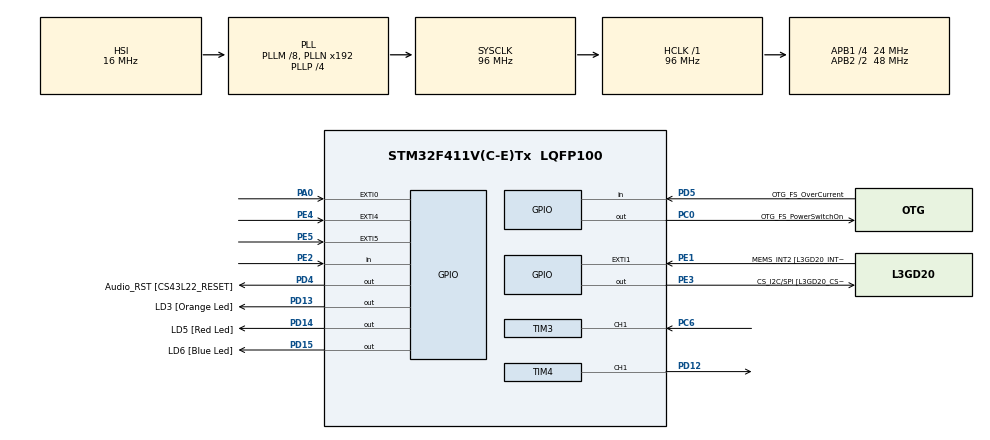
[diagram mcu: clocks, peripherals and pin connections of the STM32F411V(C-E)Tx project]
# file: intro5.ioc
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Mcu.Family=STM32F4
Mcu.Name=STM32F411V(C-E)Tx
Mcu.Package=LQFP100
NVIC.EXTI0_IRQn=true\:0\:0\:false\:false\:true\:true\:true\:true
NVIC.PriorityGroup=NVIC_PRIORITYGROUP_0
NVIC.TIM3_IRQn=true\:0\:0\:false\:false\:true\:true\:true\:true
PA0-WKUP.GPIO_ModeDefaultEXTI=GPIO_MODE_IT_RISING
PA0-WKUP.Signal=GPXTI0
PA10.GPIO_Label=OTG_FS_ID
PA10.Signal=USB_OTG_FS_ID
PA11.GPIO_Label=OTG_FS_DM
PA11.Signal=USB_OTG_FS_DM
PA12.GPIO_Label=OTG_FS_DP
PA12.Signal=USB_OTG_FS_DP
PA13.GPIO_Label=SWDIO
PA13.Signal=SYS_JTMS-SWDIO
PA14.GPIO_Label=SWCLK
PA14.Signal=SYS_JTCK-SWCLK
PA4.GPIO_Label=I2S3_WS [CS43L22_LRCK]
PA4.GPIO_Mode=GPIO_MODE_AF_PP
PA4.GPIO_PuPd=GPIO_NOPULL
PA4.GPIO_Speed=GPIO_SPEED_FREQ_LOW
PA4.Signal=I2S3_WS
PA5.GPIO_Label=SPI1_SCK [L3GD20_SC/SPC]
PA5.Signal=SPI1_SCK
PA6.GPIO_Label=SPI1_MISO [L3GD20_AS0/SDO]
PA6.Signal=SPI1_MISO
PA7.GPIO_Label=SPI1_MOSI [L3GD20_SDA/SDI/SDO]
PA7.Signal=SPI1_MOSI
PA9.GPIO_Label=VBUS_FS
PA9.Signal=USB_OTG_FS_VBUS
PB10.GPIO_Label=CLK_IN [MP45DT02_CLK]
PB10.Signal=I2S2_CK
PB12.Signal=I2S2_WS
PB3.GPIO_Label=SWO
PB3.Signal=SYS_JTDO-SWO
PB6.GPIO_Label=Audio_SCL [CS43L22_SCL]
PB6.GPIO_Mode=GPIO_MODE_AF_OD
PB6.GPIO_PuPd=GPIO_NOPULL
PB6.GPIO_Speed=GPIO_SPEED_FREQ_LOW
PB6.Signal=I2C1_SCL
PB9.GPIO_Label=Audio_SDA [CS43L22_SDA]
PB9.GPIO_Mode=GPIO_MODE_AF_OD
PB9.GPIO_PuPd=GPIO_NOPULL
PB9.GPIO_Speed=GPIO_SPEED_FREQ_LOW
PB9.Signal=I2C1_SDA
PC0.GPIO_Label=OTG_FS_PowerSwitchOn
PC0.PinState=GPIO_PIN_SET
PC0.Signal=GPIO_Output
PC10.GPIO_Label=I2S3_SCK [CS43L22_SCLK]
PC10.GPIO_Mode=GPIO_MODE_AF_PP
PC10.GPIO_PuPd=GPIO_NOPULL
PC10.GPIO_Speed=GPIO_SPEED_FREQ_LOW
PC10.Signal=I2S3_CK
PC12.GPIO_Label=I2S3_SD [CS43L22_SDIN]
PC12.GPIO_Mode=GPIO_MODE_AF_PP
PC12.GPIO_PuPd=GPIO_NOPULL
PC12.GPIO_Speed=GPIO_SPEED_FREQ_LOW
PC12.Signal=I2S3_SD
PC14-OSC32_IN.GPIO_Label=PC14-OSC32_IN
PC14-OSC32_IN.Signal=RCC_OSC32_IN
PC15-OSC32_OUT.GPIO_Label=PC15-OSC32_OUT
PC15-OSC32_OUT.Signal=RCC_OSC32_OUT
PC3.GPIO_Label=PDM_OUT [MP45DT02_DOUT]
PC3.Signal=I2S2_SD
PC6.Signal=S_TIM3_CH1
PC7.GPIO_Label=I2S3_MCK [CS43L22_MCLK]
PC7.GPIO_Mode=GPIO_MODE_AF_PP
PC7.GPIO_PuPd=GPIO_NOPULL
PC7.GPIO_Speed=GPIO_SPEED_FREQ_LOW
PC7.Signal=I2S3_MCK
PD12.Signal=S_TIM4_CH1
PD13.GPIO_Label=LD3 [Orange Led]
PD13.GPIO_PuPd=GPIO_NOPULL
PD13.GPIO_Speed=GPIO_SPEED_FREQ_LOW
PD13.Signal=GPIO_Output
PD14.GPIO_Label=LD5 [Red Led]
PD14.GPIO_PuPd=GPIO_NOPULL
PD14.GPIO_Speed=GPIO_SPEED_FREQ_LOW
PD14.Signal=GPIO_Output
PD15.GPIO_Label=LD6 [Blue Led]
PD15.GPIO_PuPd=GPIO_NOPULL
PD15.GPIO_Speed=GPIO_SPEED_FREQ_LOW
PD15.Signal=GPIO_Output
PD4.GPIO_Label=Audio_RST [CS43L22_RESET]
PD4.Signal=GPIO_Output
PD5.GPIO_Label=OTG_FS_OverCurrent
PD5.Signal=GPIO_Input
PE1.GPIO_Label=MEMS_INT2 [L3GD20_INT2]
PE1.GPIO_ModeDefaultEXTI=GPIO_MODE_EVT_RISING
PE1.Signal=GPXTI1
PE2.Signal=GPIO_Input
PE3.GPIO_Label=CS_I2C/SPI [L3GD20_CS_I2C/SPI]
PE3.Signal=GPIO_Output
PE4.GPIO_ModeDefaultEXTI=GPIO_MODE_EVT_RISING
PE4.Signal=GPXTI4
PE5.GPIO_ModeDefaultEXTI=GPIO_MODE_EVT_RISING
PE5.Signal=GPXTI5
PH0\ -\ OSC_IN.GPIO_Label=PH0-OSC_IN
PH0\ -\ OSC_IN.Signal=RCC_OSC_IN
PH1\ -\ OSC_OUT.GPIO_Label=PH1-OSC_OUT
PH1\ -\ OSC_OUT.Signal=RCC_OSC_OUT
ProjectManager.HeapSize=0x200
ProjectManager.StackSize=0x400
ProjectManager.TargetToolchain=STM32CubeIDE
RCC.48MHZClocksFreq_Value=48000000
RCC.AHBFreq_Value=96000000
RCC.APB1CLKDivider=RCC_HCLK_DIV4
RCC.APB1Freq_Value=24000000
RCC.APB1TimFreq_Value=48000000
RCC.APB2CLKDivider=RCC_HCLK_DIV2
RCC.APB2Freq_Value=48000000
RCC.APB2TimFreq_Value=96000000
RCC.CortexFreq_Value=96000000
RCC.HCLKFreq_Value=96000000
RCC.HSE_VALUE=8000000
RCC.HSI_VALUE=16000000
RCC.LSE_VALUE=32768
RCC.PLLI2SM=5
RCC.PLLI2SN=200
RCC.PLLM=8
RCC.PLLP=RCC_PLLP_DIV4
RCC.PLLQ=8
RCC.SYSCLKFreq_VALUE=96000000
RCC.SYSCLKSource=RCC_SYSCLKSOURCE_PLLCLK
RCC.VCOOutputFreq_Value=384000000
SH.S_TIM3_CH1.0=TIM3_CH1,Input_Capture1_from_TI1
SH.S_TIM4_CH1.0=TIM4_CH1,PWM Generation1 CH1
TIM3.Channel-Input_Capture1_from_TI1=TIM_CHANNEL_1
TIM3.Period=5000
TIM3.Prescaler=48000-1
TIM4.Channel-PWM\ Generation1\ CH1=TIM_CHANNEL_1
TIM4.Period=1000
TIM4.Prescaler=48000-1
TIM4.Pulse-PWM\ Generation1\ CH1=500
VP_TIM3_VS_ClockSourceINT.Mode=Internal
VP_TIM4_VS_ClockSourceINT.Mode=Internal
board=STM32F411E-DISCO

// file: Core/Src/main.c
/* USER CODE BEGIN Header */
/**
  ******************************************************************************
  * @file           : main.c
  * @brief          : Main program body
  ******************************************************************************
  * @attention
  *
  * Copyright (c) 2024 STMicroelectronics.
  * All rights reserved.
  *
  * This software is licensed under terms that can be found in the LICENSE file
  * in the root directory of this software component.
  * If no LICENSE file comes with this software, it is provided AS-IS.
  *
  ******************************************************************************
  */
/* USER CODE END Header */
#include "main.h"

TIM_HandleTypeDef htim3;
TIM_HandleTypeDef htim4;

void SystemClock_Config(void);
static void MX_GPIO_Init(void);
static void MX_TIM4_Init(void);
static void MX_TIM3_Init(void);

int main(void)
{

  /* USER CODE BEGIN 1 */
	initialise_monitor_handles();
  /* USER CODE END 1 */

  /* MCU Configuration--------------------------------------------------------*/

  /* Reset of all peripherals, Initializes the Flash interface and the Systick. */
  HAL_Init();

  /* Configure the system clock */
  SystemClock_Config();

  /* Initialize all configured peripherals */
  MX_GPIO_Init();
  MX_TIM4_Init();
  MX_TIM3_Init();
  /* USER CODE BEGIN 2 */

  HAL_TIM_Base_Start_IT(&htim3);
  HAL_TIM_PWM_Start(&htim4, TIM_CHANNEL_1); //zielona dioda

  int wartosc = 1;
HAL_SuspendTick();
printf("Gasmy swiatlo\n");

//HAL_PWR_EnterSLEEPMode(0, PWR_SLEEPENTRY_WFI); //T = 1s, delay po 5 sekundach
HAL_PWR_EnterSTOPMode(0, PWR_STOPENTRY_WFI); //T = wiecej! niz 1s , podczas klikania tylko s? nie wychodzi ze stopa?
//T sie wydluzyl bo ppl stop, HSI RC + HSE stop. ponowne wznowienie ustawia domyslne settings zegarow, nie takie
//jak my ustalilismy. od nowa musimy inicjalizowac nasze zegarki
//rozwazanie:
//SystemClock_Config();

HAL_ResumeTick();

printf("zapalamy switlo.%d\n", wartosc);

__BKPT();

  /* USER CODE END 2 */

  /* Infinite loop */
  /* USER CODE BEGIN WHILE */
printf("wchodzimy w delay\n");
  while (1)
  {
	  HAL_Delay(5000);
	  HAL_GPIO_TogglePin(LD3_GPIO_Port, LD3_Pin);
    /* USER CODE END WHILE */

  }
}

void SystemClock_Config(void)
{
  RCC_OscInitTypeDef RCC_OscInitStruct = {0};
  RCC_ClkInitTypeDef RCC_ClkInitStruct = {0};

  /** Configure the main internal regulator output voltage
  */
  __HAL_RCC_PWR_CLK_ENABLE();
  __HAL_PWR_VOLTAGESCALING_CONFIG(PWR_REGULATOR_VOLTAGE_SCALE1);

  /** Initializes the RCC Oscillators according to the specified parameters
  * in the RCC_OscInitTypeDef structure.
  */
  RCC_OscInitStruct.OscillatorType = RCC_OSCILLATORTYPE_HSI;
  RCC_OscInitStruct.HSIState = RCC_HSI_ON;
  RCC_OscInitStruct.HSICalibrationValue = RCC_HSICALIBRATION_DEFAULT;
  RCC_OscInitStruct.PLL.PLLState = RCC_PLL_ON;
  RCC_OscInitStruct.PLL.PLLSource = RCC_PLLSOURCE_HSI;
  RCC_OscInitStruct.PLL.PLLM = 8;
  RCC_OscInitStruct.PLL.PLLN = 192;
  RCC_OscInitStruct.PLL.PLLP = RCC_PLLP_DIV4;
  RCC_OscInitStruct.PLL.PLLQ = 8;
  if (HAL_RCC_OscConfig(&RCC_OscInitStruct) != HAL_OK)
  {
    Error_Handler();
  }

  /** Initializes the CPU, AHB and APB buses clocks
  */
  RCC_ClkInitStruct.ClockType = RCC_CLOCKTYPE_HCLK|RCC_CLOCKTYPE_SYSCLK
                              |RCC_CLOCKTYPE_PCLK1|RCC_CLOCKTYPE_PCLK2;
  RCC_ClkInitStruct.SYSCLKSource = RCC_SYSCLKSOURCE_PLLCLK;
  RCC_ClkInitStruct.AHBCLKDivider = RCC_SYSCLK_DIV1;
  RCC_ClkInitStruct.APB1CLKDivider = RCC_HCLK_DIV4;
  RCC_ClkInitStruct.APB2CLKDivider = RCC_HCLK_DIV2;

  if (HAL_RCC_ClockConfig(&RCC_ClkInitStruct, FLASH_LATENCY_3) != HAL_OK)
  {
    Error_Handler();
  }
}

static void MX_TIM3_Init(void)
{

  TIM_ClockConfigTypeDef sClockSourceConfig = {0};
  TIM_MasterConfigTypeDef sMasterConfig = {0};
  TIM_IC_InitTypeDef sConfigIC = {0};

  htim3.Instance = TIM3;
  htim3.Init.Prescaler = 48000-1;
  htim3.Init.CounterMode = TIM_COUNTERMODE_UP;
  htim3.Init.Period = 5000;
  htim3.Init.ClockDivision = TIM_CLOCKDIVISION_DIV1;
  htim3.Init.AutoReloadPreload = TIM_AUTORELOAD_PRELOAD_DISABLE;
  if (HAL_TIM_Base_Init(&htim3) != HAL_OK)
  {
    Error_Handler();
  }
  sClockSourceConfig.ClockSource = TIM_CLOCKSOURCE_INTERNAL;
  if (HAL_TIM_ConfigClockSource(&htim3, &sClockSourceConfig) != HAL_OK)
  {
    Error_Handler();
  }
  if (HAL_TIM_IC_Init(&htim3) != HAL_OK)
  {
    Error_Handler();
  }
  sMasterConfig.MasterOutputTrigger = TIM_TRGO_RESET;
  sMasterConfig.MasterSlaveMode = TIM_MASTERSLAVEMODE_DISABLE;
  if (HAL_TIMEx_MasterConfigSynchronization(&htim3, &sMasterConfig) != HAL_OK)
  {
    Error_Handler();
  }
  sConfigIC.ICPolarity = TIM_INPUTCHANNELPOLARITY_RISING;
  sConfigIC.ICSelection = TIM_ICSELECTION_DIRECTTI;
  sConfigIC.ICPrescaler = TIM_ICPSC_DIV1;
  sConfigIC.ICFilter = 0;
  if (HAL_TIM_IC_ConfigChannel(&htim3, &sConfigIC, TIM_CHANNEL_1) != HAL_OK)
  {
    Error_Handler();
  }

}

static void MX_TIM4_Init(void)
{

  TIM_ClockConfigTypeDef sClockSourceConfig = {0};
  TIM_MasterConfigTypeDef sMasterConfig = {0};
  TIM_OC_InitTypeDef sConfigOC = {0};

  htim4.Instance = TIM4;
  htim4.Init.Prescaler = 48000-1;
  htim4.Init.CounterMode = TIM_COUNTERMODE_UP;
  htim4.Init.Period = 1000;
  htim4.Init.ClockDivision = TIM_CLOCKDIVISION_DIV1;
  htim4.Init.AutoReloadPreload = TIM_AUTORELOAD_PRELOAD_DISABLE;
  if (HAL_TIM_Base_Init(&htim4) != HAL_OK)
  {
    Error_Handler();
  }
  sClockSourceConfig.ClockSource = TIM_CLOCKSOURCE_INTERNAL;
  if (HAL_TIM_ConfigClockSource(&htim4, &sClockSourceConfig) != HAL_OK)
  {
    Error_Handler();
  }
  if (HAL_TIM_PWM_Init(&htim4) != HAL_OK)
  {
    Error_Handler();
  }
  sMasterConfig.MasterOutputTrigger = TIM_TRGO_RESET;
  sMasterConfig.MasterSlaveMode = TIM_MASTERSLAVEMODE_DISABLE;
  if (HAL_TIMEx_MasterConfigSynchronization(&htim4, &sMasterConfig) != HAL_OK)
  {
    Error_Handler();
  }
  sConfigOC.OCMode = TIM_OCMODE_PWM1;
  sConfigOC.Pulse = 500;
  sConfigOC.OCPolarity = TIM_OCPOLARITY_HIGH;
  sConfigOC.OCFastMode = TIM_OCFAST_DISABLE;
  if (HAL_TIM_PWM_ConfigChannel(&htim4, &sConfigOC, TIM_CHANNEL_1) != HAL_OK)
  {
    Error_Handler();
  }
  HAL_TIM_MspPostInit(&htim4);

}

static void MX_GPIO_Init(void)
{
  GPIO_InitTypeDef GPIO_InitStruct = {0};

  /* GPIO Ports Clock Enable */
  __HAL_RCC_GPIOE_CLK_ENABLE();
  __HAL_RCC_GPIOC_CLK_ENABLE();
  __HAL_RCC_GPIOH_CLK_ENABLE();
  __HAL_RCC_GPIOA_CLK_ENABLE();
  __HAL_RCC_GPIOB_CLK_ENABLE();
  __HAL_RCC_GPIOD_CLK_ENABLE();

  /*Configure GPIO pin Output Level */
  HAL_GPIO_WritePin(CS_I2C_SPI_GPIO_Port, CS_I2C_SPI_Pin, GPIO_PIN_RESET);

  /*Configure GPIO pin Output Level */
  HAL_GPIO_WritePin(OTG_FS_PowerSwitchOn_GPIO_Port, OTG_FS_PowerSwitchOn_Pin, GPIO_PIN_SET);

  /*Configure GPIO pin Output Level */
  HAL_GPIO_WritePin(GPIOD, LD3_Pin|LD5_Pin|LD6_Pin|Audio_RST_Pin, GPIO_PIN_RESET);

  /*Configure GPIO pin : PE2 */
  GPIO_InitStruct.Pin = GPIO_PIN_2;
  GPIO_InitStruct.Mode = GPIO_MODE_INPUT;
  GPIO_InitStruct.Pull = GPIO_NOPULL;
  HAL_GPIO_Init(GPIOE, &GPIO_InitStruct);

  /*Configure GPIO pin : CS_I2C_SPI_Pin */
  GPIO_InitStruct.Pin = CS_I2C_SPI_Pin;
  GPIO_InitStruct.Mode = GPIO_MODE_OUTPUT_PP;
  GPIO_InitStruct.Pull = GPIO_NOPULL;
  GPIO_InitStruct.Speed = GPIO_SPEED_FREQ_LOW;
  HAL_GPIO_Init(CS_I2C_SPI_GPIO_Port, &GPIO_InitStruct);

  /*Configure GPIO pins : PE4 PE5 MEMS_INT2_Pin */
  GPIO_InitStruct.Pin = GPIO_PIN_4|GPIO_PIN_5|MEMS_INT2_Pin;
  GPIO_InitStruct.Mode = GPIO_MODE_EVT_RISING;
  GPIO_InitStruct.Pull = GPIO_NOPULL;
  HAL_GPIO_Init(GPIOE, &GPIO_InitStruct);

  /*Configure GPIO pin : OTG_FS_PowerSwitchOn_Pin */
  GPIO_InitStruct.Pin = OTG_FS_PowerSwitchOn_Pin;
  GPIO_InitStruct.Mode = GPIO_MODE_OUTPUT_PP;
  GPIO_InitStruct.Pull = GPIO_NOPULL;
  GPIO_InitStruct.Speed = GPIO_SPEED_FREQ_LOW;
  HAL_GPIO_Init(OTG_FS_PowerSwitchOn_GPIO_Port, &GPIO_InitStruct);

  /*Configure GPIO pin : PDM_OUT_Pin */
  GPIO_InitStruct.Pin = PDM_OUT_Pin;
  GPIO_InitStruct.Mode = GPIO_MODE_AF_PP;
  GPIO_InitStruct.Pull = GPIO_NOPULL;
  GPIO_InitStruct.Speed = GPIO_SPEED_FREQ_LOW;
  GPIO_InitStruct.Alternate = GPIO_AF5_SPI2;
  HAL_GPIO_Init(PDM_OUT_GPIO_Port, &GPIO_InitStruct);

  /*Configure GPIO pin : PA0 */
  GPIO_InitStruct.Pin = GPIO_PIN_0;
  GPIO_InitStruct.Mode = GPIO_MODE_IT_RISING;
  GPIO_InitStruct.Pull = GPIO_NOPULL;
  HAL_GPIO_Init(GPIOA, &GPIO_InitStruct);

  /*Configure GPIO pin : I2S3_WS_Pin */
  GPIO_InitStruct.Pin = I2S3_WS_Pin;
  GPIO_InitStruct.Mode = GPIO_MODE_AF_PP;
  GPIO_InitStruct.Pull = GPIO_NOPULL;
  GPIO_InitStruct.Speed = GPIO_SPEED_FREQ_LOW;
  GPIO_InitStruct.Alternate = GPIO_AF6_SPI3;
  HAL_GPIO_Init(I2S3_WS_GPIO_Port, &GPIO_InitStruct);

  /*Configure GPIO pins : SPI1_SCK_Pin SPI1_MISO_Pin SPI1_MOSI_Pin */
  GPIO_InitStruct.Pin = SPI1_SCK_Pin|SPI1_MISO_Pin|SPI1_MOSI_Pin;
  GPIO_InitStruct.Mode = GPIO_MODE_AF_PP;
  GPIO_InitStruct.Pull = GPIO_NOPULL;
  GPIO_InitStruct.Speed = GPIO_SPEED_FREQ_VERY_HIGH;
  GPIO_InitStruct.Alternate = GPIO_AF5_SPI1;
  HAL_GPIO_Init(GPIOA, &GPIO_InitStruct);

  /*Configure GPIO pins : CLK_IN_Pin PB12 */
  GPIO_InitStruct.Pin = CLK_IN_Pin|GPIO_PIN_12;
  GPIO_InitStruct.Mode = GPIO_MODE_AF_PP;
  GPIO_InitStruct.Pull = GPIO_NOPULL;
  GPIO_InitStruct.Speed = GPIO_SPEED_FREQ_LOW;
  GPIO_InitStruct.Alternate = GPIO_AF5_SPI2;
  HAL_GPIO_Init(GPIOB, &GPIO_InitStruct);

  /*Configure GPIO pins : LD3_Pin LD5_Pin LD6_Pin Audio_RST_Pin */
  GPIO_InitStruct.Pin = LD3_Pin|LD5_Pin|LD6_Pin|Audio_RST_Pin;
  GPIO_InitStruct.Mode = GPIO_MODE_OUTPUT_PP;
  GPIO_InitStruct.Pull = GPIO_NOPULL;
  GPIO_InitStruct.Speed = GPIO_SPEED_FREQ_LOW;
  HAL_GPIO_Init(GPIOD, &GPIO_InitStruct);

  /*Configure GPIO pins : I2S3_MCK_Pin I2S3_SCK_Pin I2S3_SD_Pin */
  GPIO_InitStruct.Pin = I2S3_MCK_Pin|I2S3_SCK_Pin|I2S3_SD_Pin;
  GPIO_InitStruct.Mode = GPIO_MODE_AF_PP;
  GPIO_InitStruct.Pull = GPIO_NOPULL;
  GPIO_InitStruct.Speed = GPIO_SPEED_FREQ_LOW;
  GPIO_InitStruct.Alternate = GPIO_AF6_SPI3;
  HAL_GPIO_Init(GPIOC, &GPIO_InitStruct);

  /*Configure GPIO pin : VBUS_FS_Pin */
  GPIO_InitStruct.Pin = VBUS_FS_Pin;
  GPIO_InitStruct.Mode = GPIO_MODE_INPUT;
  GPIO_InitStruct.Pull = GPIO_NOPULL;
  HAL_GPIO_Init(VBUS_FS_GPIO_Port, &GPIO_InitStruct);

  /*Configure GPIO pins : OTG_FS_ID_Pin OTG_FS_DM_Pin OTG_FS_DP_Pin */
  GPIO_InitStruct.Pin = OTG_FS_ID_Pin|OTG_FS_DM_Pin|OTG_FS_DP_Pin;
  GPIO_InitStruct.Mode = GPIO_MODE_AF_PP;
  GPIO_InitStruct.Pull = GPIO_NOPULL;
  GPIO_InitStruct.Speed = GPIO_SPEED_FREQ_VERY_HIGH;
  GPIO_InitStruct.Alternate = GPIO_AF10_OTG_FS;
  HAL_GPIO_Init(GPIOA, &GPIO_InitStruct);

  /*Configure GPIO pin : OTG_FS_OverCurrent_Pin */
  GPIO_InitStruct.Pin = OTG_FS_OverCurrent_Pin;
  GPIO_InitStruct.Mode = GPIO_MODE_INPUT;
  GPIO_InitStruct.Pull = GPIO_NOPULL;
  HAL_GPIO_Init(OTG_FS_OverCurrent_GPIO_Port, &GPIO_InitStruct);

  /*Configure GPIO pins : Audio_SCL_Pin Audio_SDA_Pin */
  GPIO_InitStruct.Pin = Audio_SCL_Pin|Audio_SDA_Pin;
  GPIO_InitStruct.Mode = GPIO_MODE_AF_OD;
  GPIO_InitStruct.Pull = GPIO_NOPULL;
  GPIO_InitStruct.Speed = GPIO_SPEED_FREQ_LOW;
  GPIO_InitStruct.Alternate = GPIO_AF4_I2C1;
  HAL_GPIO_Init(GPIOB, &GPIO_InitStruct);

  /* EXTI interrupt init*/
  HAL_NVIC_SetPriority(EXTI0_IRQn, 0, 0);
  HAL_NVIC_EnableIRQ(EXTI0_IRQn);

}

/* USER CODE BEGIN 4 */
int call_number = 0;
HAL_GPIO_EXTI_Callback(uint16_t GPIO_Pin)
{
	printf("wcisnieto przycisk: %d \n", call_number); //2
	printf("wywolano przerwanie przyciskiem\n");
	call_number++;
	//HAL_PWR_EnableSleepOnExit(); //wylaczone bo chcemy wybudzic go przyciskiem
}

void HAL_TIM_PeriodElapsedCallback(TIM_HandleTypeDef *htim) //wyjscie ze sleepa i stop timera
{
	if(htim == &htim3){
		HAL_PWR_DisableSleepOnExit(); //
	}
}

/* USER CODE END 4 */

void Error_Handler(void)
{
  __disable_irq();
  while (1)
  {
  }
}
